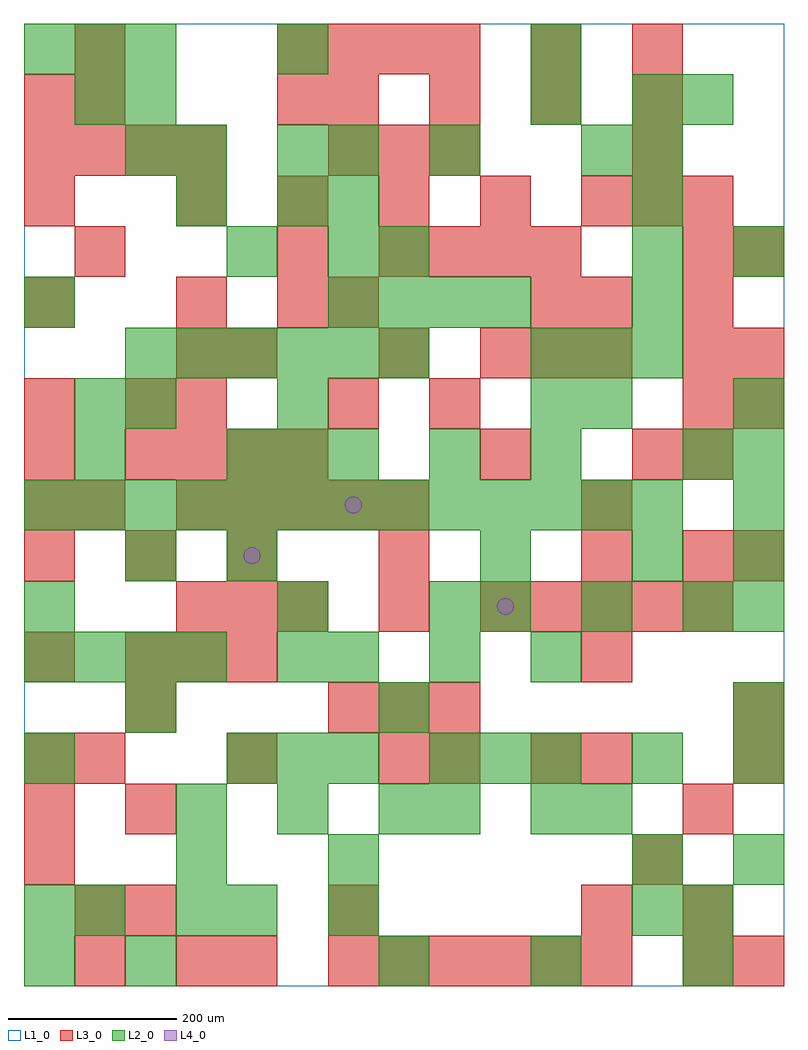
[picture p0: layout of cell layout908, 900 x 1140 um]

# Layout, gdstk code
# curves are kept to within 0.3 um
import gdstk
lib = gdstk.Library(unit=1e-6, precision=1e-09)
def R(c, l, rs):  # rectangles x0, y0, x1, y1
    for r in rs: c.add(gdstk.rectangle(r[:2], r[2:], *l))
def A(c, l, x, y, w, h, nx, ny, dx, dy):  # array of equal rectangles
    R(c, l, [(x+i*dx, y+j*dy, x+i*dx+w, y+j*dy+h) for i in range(nx) for j in range(ny)])
def P(c, l, *ps):  # polygons
    for p in ps: c.add(gdstk.Polygon(p, *l))
L1_0 = (1, 0)
L2_0 = (2, 0)
L3_0 = (3, 0)
L4_0 = (4, 0)

layout908 = lib.new_cell('layout908')
R(layout908, L1_0, [(0,0,900,1140)])
A(layout908, L2_0, 420, 0, 60, 60, 3, 1, 180, 0)
A(layout908, L2_0, 0, 60, 60, 60, 1, 3, 0, 180)
A(layout908, L2_0, 180, 180, 60, 60, 3, 1, 120, 0)
A(layout908, L2_0, 240, 240, 60, 60, 3, 2, 60, 360)
A(layout908, L2_0, 480, 240, 60, 60, 3, 1, 60, 0)
A(layout908, L2_0, 120, 300, 60, 60, 1, 3, 0, 180)
A(layout908, L2_0, 0, 360, 60, 60, 4, 1, 60, 0)
A(layout908, L2_0, 360, 360, 60, 60, 3, 1, 120, 0)
A(layout908, L2_0, 300, 420, 60, 60, 1, 3, 0, 240)
A(layout908, L2_0, 540, 420, 60, 60, 3, 1, 120, 0)
A(layout908, L2_0, 840, 420, 60, 60, 1, 5, 0, 60)
A(layout908, L2_0, 0, 540, 60, 60, 13, 1, 60, 0)
A(layout908, L2_0, 120, 720, 60, 60, 6, 1, 60, 0)
A(layout908, L2_0, 600, 720, 60, 60, 3, 1, 60, 0)
A(layout908, L2_0, 360, 780, 60, 60, 4, 1, 60, 0)
A(layout908, L2_0, 720, 780, 60, 60, 1, 5, 0, 60)
A(layout908, L2_0, 360, 840, 60, 60, 1, 3, 0, 60)
A(layout908, L2_0, 0, 1080, 60, 60, 3, 1, 60, 0)
R(layout908, L2_0, [(0,0,60,60), (120,0,180,60), (60,60,120,120), (180,60,240,120), (240,60,300,120), (360,60,420,120), (720,60,780,120), (780,60,840,120), (180,120,240,180), (360,120,420,180), (720,120,780,180), (840,120,900,180), (480,180,540,240), (600,180,660,240), (660,180,720,240), (720,240,780,300), (840,240,900,300), (420,300,480,360), (840,300,900,360), (300,360,360,420), (480,420,540,480), (240,480,300,540), (540,480,600,540), (720,480,780,540), (60,600,120,660), (480,600,540,660), (600,600,660,660), (780,600,840,660), (60,660,120,720), (600,660,660,720), (660,660,720,720), (0,780,60,840), (240,840,300,900), (420,840,480,900), (840,840,900,900), (180,900,240,960), (120,960,180,1020), (180,960,240,1020), (300,960,360,1020), (480,960,540,1020), (660,960,720,1020), (60,1020,120,1080), (120,1020,180,1080), (600,1020,660,1080), (780,1020,840,1080), (300,1080,360,1140), (600,1080,660,1140)])
A(layout908, L3_0, 360, 0, 60, 60, 6, 1, 60, 0)
A(layout908, L3_0, 120, 60, 60, 60, 1, 3, 0, 120)
A(layout908, L3_0, 0, 120, 60, 60, 1, 3, 0, 60)
A(layout908, L3_0, 60, 240, 60, 60, 3, 1, 180, 0)
A(layout908, L3_0, 660, 240, 60, 60, 1, 3, 0, 120)
A(layout908, L3_0, 360, 300, 60, 60, 3, 2, 60, 660)
A(layout908, L3_0, 840, 300, 60, 60, 1, 3, 0, 180)
A(layout908, L3_0, 120, 360, 60, 60, 3, 1, 60, 0)
A(layout908, L3_0, 180, 420, 60, 60, 3, 1, 60, 0)
A(layout908, L3_0, 540, 420, 60, 60, 5, 1, 60, 0)
A(layout908, L3_0, 0, 480, 60, 60, 3, 1, 120, 0)
A(layout908, L3_0, 0, 540, 60, 60, 1, 3, 0, 60)
A(layout908, L3_0, 180, 540, 60, 60, 5, 1, 60, 0)
A(layout908, L3_0, 120, 600, 60, 60, 4, 1, 60, 0)
A(layout908, L3_0, 780, 600, 60, 60, 1, 6, 0, 60)
A(layout908, L3_0, 180, 660, 60, 60, 1, 3, 0, 60)
A(layout908, L3_0, 540, 720, 60, 60, 3, 1, 60, 0)
A(layout908, L3_0, 0, 780, 60, 60, 1, 3, 0, 120)
A(layout908, L3_0, 420, 840, 60, 60, 4, 1, 60, 0)
A(layout908, L3_0, 180, 900, 60, 60, 5, 1, 120, 0)
A(layout908, L3_0, 0, 960, 60, 60, 4, 1, 60, 0)
A(layout908, L3_0, 360, 1020, 60, 60, 4, 1, 120, 0)
A(layout908, L3_0, 300, 1080, 60, 60, 4, 1, 60, 0)
R(layout908, L3_0, [(60,0,120,60), (180,0,240,60), (240,0,300,60), (780,0,840,60), (840,0,900,60), (60,60,120,120), (360,60,420,120), (660,60,720,120), (780,60,840,120), (720,120,780,180), (780,180,840,240), (480,240,540,300), (600,240,660,300), (840,240,900,300), (0,360,60,420), (420,420,480,480), (420,480,480,540), (780,480,840,540), (60,540,120,600), (660,540,720,600), (540,600,600,660), (720,600,780,660), (120,660,180,720), (360,660,420,720), (480,660,540,720), (240,720,300,780), (420,720,480,780), (840,720,900,780), (300,780,360,840), (360,780,420,840), (600,780,660,840), (660,780,720,840), (60,840,120,900), (300,840,360,900), (840,840,900,900), (720,900,780,960), (720,960,780,1020), (60,1020,120,1080), (300,1020,360,1080), (60,1080,120,1140), (600,1080,660,1140), (720,1080,780,1140)])
P(layout908, L4_0, [(280,510),(279.239,513.827),(277.071,517.071),(273.827,519.239),(270,520),(266.173,519.239),(262.929,517.071),(260.761,513.827),(260,510),(260.761,506.173),(262.929,502.929),(266.173,500.761),(270,500),(273.827,500.761),(277.071,502.929),(279.239,506.173)],
  [(400,570),(399.239,573.827),(397.071,577.071),(393.827,579.239),(390,580),(386.173,579.239),(382.929,577.071),(380.761,573.827),(380,570),(380.761,566.173),(382.929,562.929),(386.173,560.761),(390,560),(393.827,560.761),(397.071,562.929),(399.239,566.173)],
  [(580,450),(579.239,453.827),(577.071,457.071),(573.827,459.239),(570,460),(566.173,459.239),(562.929,457.071),(560.761,453.827),(560,450),(560.761,446.173),(562.929,442.929),(566.173,440.761),(570,440),(573.827,440.761),(577.071,442.929),(579.239,446.173)])

lib.write_gds('layout908.gds')
